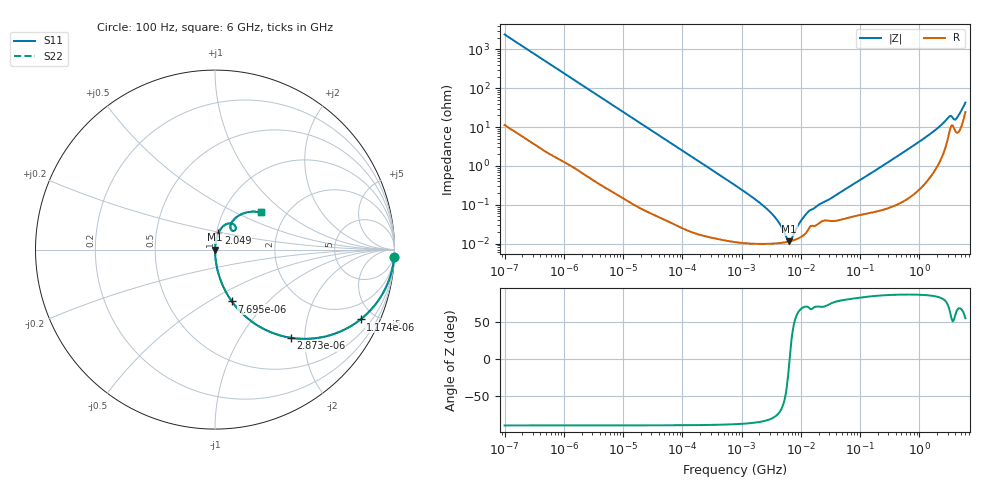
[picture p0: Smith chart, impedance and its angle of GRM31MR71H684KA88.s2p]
!Murata Part Number: GRM31MR71H684KA88
!These Parameters are Measured in Series Mode Connection
!Data Generated on Mar 30, 2021
!  o--ll--o
!Port1  Port2
!  o------o
!Operation Temp=25[degC], DC Bias Voltage=0[V]
!Freq. Start=100[Hz] Stop=6[GHz] 401[Steps]
# Hz S RI R 50
!Freq.(Hz) S11(Real) S11(Imag) S21(Real) S21(Imag) S12(Real) S12(Imag) S22(Real) S22(Imag)
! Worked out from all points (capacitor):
!   401 points, 100 Hz to 6 GHz, reference 50 ohm
!   read as one part in series: C = 656 nF near 109 Hz
!   lowest |Z| = 11.4 mohm at 6.353 MHz (marker M1)
!   series resonance near 6.472 MHz, so ESL is about 920 pH
!   S11 on the Smith chart (normalised r, x): 100 Hz: 1, -48; 1.174 kHz: 1.02, -4.16; 2.873 kHz: 1.01, -1.70; 7.695 kHz: 1.00, -0.64; 2.049 GHz: 1.02, +0.19; 6 GHz: 1.49, +0.70
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100  0.9981 -0.0412  0.00189 0.0412  0.00189 0.0412  0.9981 -0.0412
501  0.9585 -0.1972  0.0415 0.1972  0.0415 0.1972  0.9585 -0.1972
1174  0.8109 -0.3889  0.1891 0.3889  0.1891 0.3889  0.8109 -0.3889
2008  0.5967 -0.4878  0.4033 0.4878  0.4033 0.4878  0.5967 -0.4878
2873  0.4211 -0.491  0.5789 0.491  0.5789 0.491  0.4211 -0.491
4702  0.2151 -0.4081  0.7849 0.4081  0.7849 0.4081  0.2151 -0.4081
7695  0.0939 -0.2887  0.9061 0.2887  0.9061 0.2887  0.0939 -0.2887
16473  0.0227 -0.146  0.9773 0.146  0.9773 0.146  0.0227 -0.146
40335  0.00421 -0.061  0.9958 0.061  0.9958 0.061  0.00421 -0.061
774597  0.000119 -0.00318  0.9999 0.00318  0.9999 0.00318  0.000119 -0.00318
3103719  9.94e-05 -0.000622  0.9999 0.000622  0.9999 0.000622  9.94e-05 -0.000622
4246196  0.000103 -0.000337  0.9999 0.000337  0.9999 0.000337  0.000103 -0.000337
5809218  0.00011 -8.39e-05  0.9999 8.39e-05  0.9999 8.39e-05  0.00011 -8.39e-05
6353432  0.000113 -1.42e-05  0.9999 1.42e-05  0.9999 1.42e-05  0.000113 -1.42e-05
6948629  0.000117 5.55e-05  0.9999 -5.55e-05  0.9999 -5.55e-05  0.000117 5.55e-05
1.087309e7  0.00016 0.000427  0.9998 -0.000427  0.9998 -0.000427  0.00016 0.000427
1.555665e7  0.000288 0.000698  0.9997 -0.000698  0.9997 -0.000698  0.000288 0.000698
3.124326e8  0.001 0.013  0.999 -0.013  0.999 -0.013  0.001 0.013
2.048624e9  0.0185 0.0912  0.9815 -0.0912  0.9815 -0.0912  0.0185 0.0912
3.205649e9  0.0902 0.1463  0.9098 -0.1463  0.9098 -0.1463  0.0902 0.1463
4.193612e9  0.0852 0.1244  0.9148 -0.1244  0.9148 -0.1244  0.0852 0.1244
6e9  0.2543 0.2083  0.7457 -0.2083  0.7457 -0.2083  0.2543 0.2083
